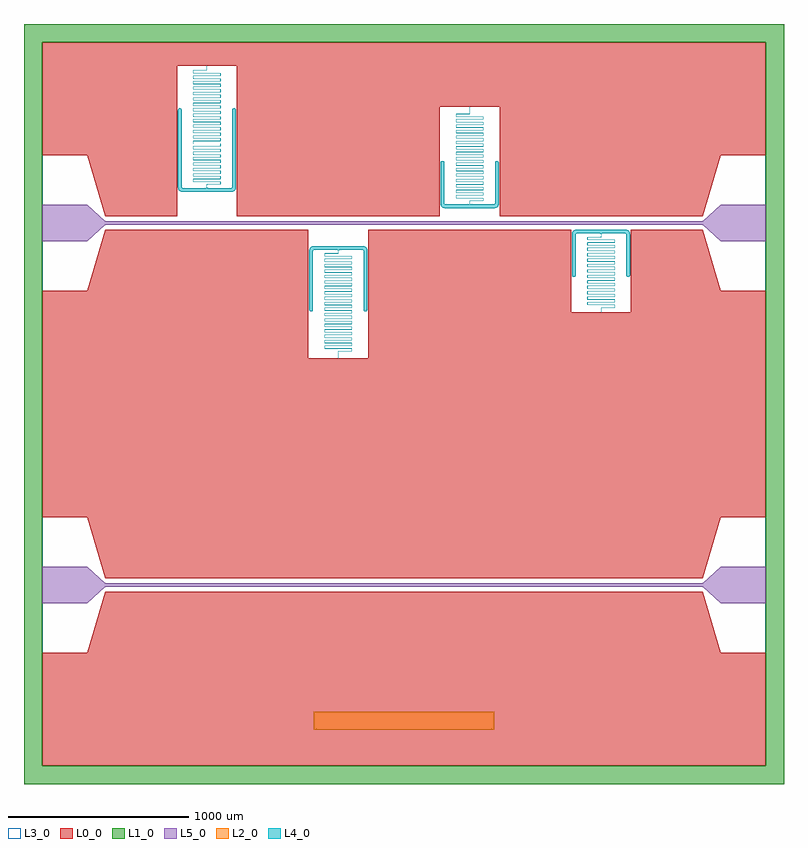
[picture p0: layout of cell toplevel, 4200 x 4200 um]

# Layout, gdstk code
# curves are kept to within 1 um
import gdstk
lib = gdstk.Library(unit=1e-6, precision=1e-09)
def R(c, l, rs):  # rectangles x0, y0, x1, y1
    for r in rs: c.add(gdstk.rectangle(r[:2], r[2:], *l))
def P(c, l, *ps):  # polygons
    for p in ps: c.add(gdstk.Polygon(p, *l))
L0_0 = (0, 0)
L1_0 = (1, 0)
L2_0 = (2, 0)
L3_0 = (3, 0)
L4_0 = (4, 0)
L5_0 = (5, 0)

toplevel = lib.new_cell('toplevel')
P(toplevel, L0_0, [(-924,1868.5),(-924,1037.5),(198,1037.5),(198,1642.833),(528,1642.833),(528,1037.5),(1650,1037.5),(1750,1375),(2000,1375),(2000,2000),(-2000,2000),(-2000,1375),(-1750,1375),(-1650,1037.5),(-1254,1037.5),(-1254,1868.5)],
  [(-1750,-625),(-1650,-962.5),(1650,-962.5),(1750,-625),(2000,-625),(2000,625),(1750,625),(1650,962.5),(1254,962.5),(1254,507.5),(924,507.5),(924,962.5),(-198,962.5),(-198,251.833),(-528,251.833),(-528,962.5),(-1650,962.5),(-1750,625),(-2000,625),(-2000,-625)],
  [(2000,-2000),(2000,-1375),(1750,-1375),(1650,-1037.5),(-1650,-1037.5),(-1750,-1375),(-2000,-1375),(-2000,-2000)])
P(toplevel, L1_0, [(2100,2100),(-2100,2100),(-2100,-2000),(-2000,-2000),(-2000,2000),(2000,2000),(2000,-2000),(-2000,-2000),(-2100,-2000),(-2100,-2100),(2100,-2100)])
R(toplevel, L2_0, [(-500,-1800,500,-1700)])
R(toplevel, L3_0, [(-2000,-2000,2000,2000)])
P(toplevel, L4_0, [(-957.256,1173.5),(-946.018,1174.652),(-937.664,1178.765),(-931.925,1185.852),(-929.25,1195.469),(-929,1438.861),(-949,1438.861),(-949.028,1199.36),(-950.06,1194.461),(-956.931,1193.5),(-1079,1193.5),(-1088.7,1198.5),(-1088.291,1213.175),(-1014.361,1213.305),(-1013.703,1214.388),(-1013.702,1227.589),(-1014.584,1228.762),(-1163.666,1229.171),(-1163.696,1242.609),(-1163.132,1243.195),(-1013.928,1243.636),(-1013.704,1257.63),(-1014.73,1258.785),(-1162.888,1258.8),(-1163.7,1259.606),(-1163.176,1273.191),(-1013.961,1273.593),(-1013.707,1287.684),(-1014.755,1288.787),(-1162.94,1288.8),(-1163.7,1289.591),(-1163.184,1303.19),(-1014.035,1303.513),(-1013.707,1317.684),(-1014.755,1318.787),(-1162.94,1318.8),(-1163.7,1319.591),(-1163.184,1333.19),(-1014.118,1333.442),(-1013.707,1347.684),(-1014.755,1348.787),(-1162.935,1348.8),(-1163.7,1349.591),(-1163.184,1363.19),(-1014.211,1363.379),(-1013.702,1377.56),(-1014.755,1378.787),(-1162.935,1378.8),(-1163.699,1379.48),(-1163.184,1393.19),(-1014.407,1393.287),(-1013.706,1394.346),(-1013.702,1407.56),(-1014.755,1408.787),(-1162.935,1408.8),(-1163.699,1409.476),(-1163.184,1423.19),(-1014.571,1423.241),(-1013.706,1424.34),(-1013.702,1437.56),(-1015.111,1438.8),(-1164.195,1438.861),(-1162.964,1438.2),(-1014.428,1438.03),(-1014.798,1423.812),(-1162.888,1423.8),(-1163.959,1423.492),(-1164.3,1422.404),(-1164.287,1409.249),(-1163.251,1408.213),(-1014.458,1408.061),(-1014.798,1393.812),(-1162.888,1393.8),(-1163.959,1393.492),(-1164.3,1392.404),(-1164.295,1379.352),(-1163.251,1378.213),(-1014.535,1378.115),(-1014.798,1363.812),(-1162.888,1363.8),(-1163.959,1363.492),(-1164.3,1362.404),(-1164.289,1349.274),(-1163.251,1348.213),(-1014.686,1348.17),(-1014.605,1333.854),(-1163.245,1333.787),(-1164.292,1332.684),(-1164.3,1319.59),(-1162.97,1318.2),(-1014.815,1318.19),(-1014.466,1303.932),(-1163.245,1303.787),(-1164.292,1302.684),(-1164.3,1289.59),(-1162.97,1288.2),(-1014.815,1288.19),(-1014.433,1273.964),(-1163.251,1273.787),(-1164.294,1272.666),(-1164.3,1259.595),(-1163.987,1258.535),(-1162.888,1258.2),(-1014.85,1258.193),(-1014.303,1257.595),(-1014.3,1244.612),(-1015.112,1243.8),(-1163.238,1243.788),(-1164.294,1242.653),(-1164.3,1229.611),(-1163.982,1228.53),(-1162.888,1228.2),(-1014.811,1228.19),(-1014.45,1213.946),(-1088.481,1213.746),(-1089.296,1212.612),(-1089.3,1198.5),(-1099,1193.5),(-1221.878,1193.504),(-1227.976,1194.489),(-1228.998,1200.94),(-1229,1438.861),(-1249,1438.861),(-1248.965,1198.83),(-1246.945,1187.792),(-1244.619,1183.373),(-1241.507,1179.761),(-1233.471,1175.103),(-1223.255,1173.524)],
  [(-1163.433,1438.869),(-1163.631,1439.067),(-1163.699,1439.471),(-1163.698,1452.567),(-1163.572,1453.03),(-1163.184,1453.19),(-1015.036,1453.2),(-1014.526,1453.252),(-1014.142,1453.424),(-1013.875,1453.718),(-1013.73,1454.129),(-1013.707,1467.677),(-1013.797,1468.119),(-1014.007,1468.459),(-1014.328,1468.681),(-1014.755,1468.787),(-1162.935,1468.8),(-1163.476,1468.891),(-1163.678,1469.229),(-1163.698,1482.567),(-1163.572,1483.03),(-1163.184,1483.19),(-1015.036,1483.2),(-1014.532,1483.25),(-1014.148,1483.42),(-1013.883,1483.705),(-1013.733,1484.11),(-1013.707,1497.677),(-1013.797,1498.119),(-1014.007,1498.459),(-1014.328,1498.681),(-1014.755,1498.787),(-1162.935,1498.8),(-1163.471,1498.888),(-1163.675,1499.213),(-1163.698,1512.567),(-1163.572,1513.03),(-1163.184,1513.19),(-1015.036,1513.2),(-1014.532,1513.25),(-1014.155,1513.415),(-1013.887,1513.699),(-1013.737,1514.091),(-1013.707,1527.677),(-1013.797,1528.119),(-1014.007,1528.459),(-1014.328,1528.681),(-1014.755,1528.787),(-1162.935,1528.8),(-1163.468,1528.887),(-1163.673,1529.201),(-1163.698,1542.567),(-1163.572,1543.03),(-1163.18,1543.191),(-1015.041,1543.2),(-1014.545,1543.247),(-1014.167,1543.407),(-1013.898,1543.68),(-1013.743,1544.065),(-1013.707,1557.677),(-1013.797,1558.119),(-1014.007,1558.459),(-1014.328,1558.681),(-1014.755,1558.787),(-1162.93,1558.8),(-1163.46,1558.882),(-1163.67,1559.186),(-1163.698,1572.567),(-1163.572,1573.03),(-1163.18,1573.191),(-1015.041,1573.2),(-1014.552,1573.245),(-1014.18,1573.398),(-1013.907,1573.667),(-1013.749,1574.039),(-1013.707,1587.677),(-1013.797,1588.119),(-1014.007,1588.459),(-1014.328,1588.681),(-1014.755,1588.787),(-1162.93,1588.8),(-1163.454,1588.879),(-1163.665,1589.168),(-1163.698,1602.567),(-1163.572,1603.03),(-1163.18,1603.191),(-1015.041,1603.2),(-1014.558,1603.244),(-1014.192,1603.39),(-1013.92,1603.648),(-1013.757,1604.006),(-1013.707,1617.671),(-1013.795,1618.112),(-1014.002,1618.453),(-1014.328,1618.681),(-1014.755,1618.787),(-1162.93,1618.8),(-1163.445,1618.875),(-1163.66,1619.15),(-1163.698,1632.563),(-1163.572,1633.03),(-1163.18,1633.191),(-1015.041,1633.2),(-1014.205,1633.383),(-1013.937,1633.624),(-1013.768,1633.967),(-1013.7,1634.547),(-1013.707,1647.671),(-1013.795,1648.112),(-1014.002,1648.453),(-1014.328,1648.681),(-1014.755,1648.787),(-1162.93,1648.8),(-1163.436,1648.871),(-1163.654,1649.129),(-1163.698,1662.563),(-1163.572,1663.03),(-1163.18,1663.191),(-1015.047,1663.2),(-1014.231,1663.368),(-1013.961,1663.593),(-1013.783,1663.921),(-1013.7,1664.541),(-1013.707,1677.671),(-1013.795,1678.112),(-1014.002,1678.453),(-1014.328,1678.681),(-1014.755,1678.787),(-1162.925,1678.8),(-1163.421,1678.864),(-1163.645,1679.102),(-1163.698,1692.563),(-1163.572,1693.03),(-1163.18,1693.191),(-1015.047,1693.2),(-1014.25,1693.357),(-1013.981,1693.57),(-1013.802,1693.868),(-1013.7,1694.53),(-1013.706,1707.665),(-1013.795,1708.112),(-1014.002,1708.453),(-1014.328,1708.681),(-1014.755,1708.787),(-1162.925,1708.8),(-1163.405,1708.858),(-1163.633,1709.073),(-1163.7,1709.55),(-1163.698,1722.558),(-1163.574,1723.027),(-1163.18,1723.191),(-1015.052,1723.2),(-1014.283,1723.34),(-1013.831,1723.802),(-1013.7,1724.519),(-1013.706,1737.659),(-1013.795,1738.112),(-1014.002,1738.453),(-1014.328,1738.681),(-1014.755,1738.787),(-1162.92,1738.8),(-1163.385,1738.85),(-1163.618,1739.04),(-1163.7,1739.54),(-1163.698,1752.558),(-1163.574,1753.027),(-1163.18,1753.191),(-1015.058,1753.2),(-1014.328,1753.319),(-1013.871,1753.724),(-1013.7,1754.503),(-1013.706,1767.653),(-1013.792,1768.106),(-1014.002,1768.453),(-1014.328,1768.681),(-1014.755,1768.787),(-1162.92,1768.8),(-1163.361,1768.843),(-1163.596,1769.003),(-1163.7,1769.53),(-1163.698,1782.553),(-1163.574,1783.027),(-1163.18,1783.191),(-1015.063,1783.2),(-1014.388,1783.295),(-1013.937,1783.624),(-1013.76,1783.993),(-1013.701,1784.48),(-1013.705,1797.642),(-1013.79,1798.099),(-1013.997,1798.448),(-1014.322,1798.678),(-1014.749,1798.787),(-1162.914,1798.8),(-1163.328,1798.834),(-1163.565,1798.962),(-1163.7,1799.52),(-1163.699,1812.544),(-1163.575,1813.025),(-1163.18,1813.191),(-1015.074,1813.2),(-1014.473,1813.266),(-1014.047,1813.502),(-1013.79,1813.901),(-1013.701,1814.452),(-1013.704,1827.618),(-1013.785,1828.086),(-1013.991,1828.442),(-1014.315,1828.675),(-1014.749,1828.787),(-1162.909,1828.8),(-1163.514,1828.916),(-1163.654,1829.129),(-1163.699,1829.5),(-1163.699,1842.505),(-1163.602,1842.987),(-1163.287,1843.175),(-1090.069,1843.2),(-1089.257,1843.353),(-1088.843,1843.776),(-1088.701,1844.457),(-1088.7,1868.5),(-1089.3,1868.5),(-1089.3,1844.52),(-1089.355,1844.102),(-1089.535,1843.885),(-1090.08,1843.8),(-1163.416,1843.761),(-1163.795,1843.617),(-1164.067,1843.37),(-1164.236,1843.02),(-1164.298,1842.571),(-1164.298,1829.429),(-1164.184,1828.835),(-1163.864,1828.428),(-1163.461,1828.249),(-1162.92,1828.2),(-1014.82,1828.191),(-1014.425,1828.025),(-1014.301,1827.539),(-1014.3,1814.51),(-1014.456,1813.941),(-1015.091,1813.8),(-1163.251,1813.787),(-1163.685,1813.675),(-1164.008,1813.442),(-1164.213,1813.092),(-1164.296,1812.63),(-1164.299,1799.463),(-1164.226,1798.947),(-1164.014,1798.564),(-1163.573,1798.281),(-1162.931,1798.2),(-1014.82,1798.191),(-1014.425,1798.025),(-1014.302,1797.548),(-1014.3,1784.525),(-1014.418,1783.984),(-1014.653,1783.839),(-1015.086,1783.8),(-1163.245,1783.787),(-1163.678,1783.678),(-1164.003,1783.448),(-1164.21,1783.099),(-1164.295,1782.647),(-1164.299,1769.492),(-1164.25,1769.032),(-1164.097,1768.673),(-1163.645,1768.308),(-1162.937,1768.2),(-1014.82,1768.191),(-1014.426,1768.027),(-1014.302,1767.553),(-1014.3,1754.54),(-1014.391,1754.024),(-1014.625,1753.847),(-1015.08,1753.8),(-1163.245,1753.787),(-1163.671,1753.681),(-1163.998,1753.453),(-1164.205,1753.112),(-1164.294,1752.659),(-1164.3,1739.508),(-1164.15,1738.763),(-1163.698,1738.331),(-1162.948,1738.2),(-1014.82,1738.191),(-1014.426,1738.027),(-1014.302,1737.558),(-1014.3,1724.545),(-1014.373,1724.058),(-1014.602,1723.855),(-1015.075,1723.8),(-1163.245,1723.787),(-1163.671,1723.681),(-1163.998,1723.453),(-1164.205,1723.112),(-1164.294,1722.665),(-1164.3,1709.525),(-1164.184,1708.835),(-1163.73,1708.347),(-1162.948,1708.2),(-1014.82,1708.191),(-1014.426,1708.027),(-1014.302,1707.558),(-1014.36,1694.089),(-1014.586,1693.861),(-1015.075,1693.8),(-1163.245,1693.787),(-1163.671,1693.681),(-1163.998,1693.453),(-1164.205,1693.112),(-1164.294,1692.665),(-1164.3,1679.536),(-1164.208,1678.894),(-1164.029,1678.582),(-1163.763,1678.364),(-1162.953,1678.2),(-1014.82,1678.191),(-1014.428,1678.03),(-1014.302,1677.563),(-1014.35,1664.115),(-1014.573,1663.867),(-1015.075,1663.8),(-1163.245,1663.787),(-1163.671,1663.681),(-1163.998,1663.453),(-1164.205,1663.112),(-1164.293,1662.671),(-1164.3,1649.547),(-1164.226,1648.947),(-1164.053,1648.612),(-1163.782,1648.375),(-1162.953,1648.2),(-1014.82,1648.191),(-1014.428,1648.03),(-1014.302,1647.563),(-1014.343,1634.139),(-1014.561,1633.872),(-1015.07,1633.8),(-1163.245,1633.787),(-1163.671,1633.681),(-1163.998,1633.453),(-1164.205,1633.112),(-1164.293,1632.671),(-1164.238,1618.987),(-1164.071,1618.636),(-1163.801,1618.387),(-1163.435,1618.243),(-1162.959,1618.2),(-1014.82,1618.191),(-1014.428,1618.03),(-1014.302,1617.563),(-1014.337,1604.16),(-1014.549,1603.878),(-1015.07,1603.8),(-1163.245,1603.787),(-1163.671,1603.681),(-1163.992,1603.459),(-1164.203,1603.119),(-1164.293,1602.677),(-1164.246,1589.019),(-1164.085,1588.655),(-1163.814,1588.394),(-1163.441,1588.244),(-1162.959,1588.2),(-1014.82,1588.191),(-1014.428,1588.03),(-1014.302,1587.567),(-1014.332,1574.179),(-1014.543,1573.881),(-1015.07,1573.8),(-1163.245,1573.787),(-1163.671,1573.681),(-1163.992,1573.459),(-1164.203,1573.119),(-1164.293,1572.677),(-1164.254,1559.052),(-1164.097,1558.673),(-1163.827,1558.403),(-1163.454,1558.247),(-1162.959,1558.2),(-1014.82,1558.191),(-1014.428,1558.03),(-1014.302,1557.567),(-1014.329,1544.194),(-1014.535,1543.885),(-1015.065,1543.8),(-1163.245,1543.787),(-1163.671,1543.681),(-1163.992,1543.459),(-1164.203,1543.119),(-1164.293,1542.677),(-1164.26,1529.078),(-1164.105,1528.686),(-1163.839,1528.411),(-1163.461,1528.249),(-1162.964,1528.2),(-1014.815,1528.19),(-1014.428,1528.03),(-1014.302,1527.567),(-1014.325,1514.209),(-1014.529,1513.888),(-1015.065,1513.8),(-1163.245,1513.787),(-1163.671,1513.681),(-1163.992,1513.459),(-1164.203,1513.119),(-1164.293,1512.677),(-1164.264,1499.097),(-1164.113,1498.699),(-1163.845,1498.415),(-1163.468,1498.25),(-1162.964,1498.2),(-1014.815,1498.19),(-1014.428,1498.03),(-1014.302,1497.567),(-1014.323,1484.221),(-1014.526,1483.89),(-1015.065,1483.8),(-1163.245,1483.787),(-1163.671,1483.681),(-1163.992,1483.459),(-1164.203,1483.119),(-1164.293,1482.677),(-1164.269,1469.123),(-1164.121,1468.711),(-1163.852,1468.42),(-1163.468,1468.25),(-1162.964,1468.2),(-1014.815,1468.19),(-1014.428,1468.03),(-1014.302,1467.567),(-1014.321,1454.233),(-1014.521,1453.893),(-1015.065,1453.8),(-1163.245,1453.787),(-1163.717,1453.66),(-1164.058,1453.382),(-1164.25,1452.968),(-1164.3,1452.404),(-1164.294,1439.334),(-1164.195,1438.861)],
  [(-1229,1623.5),(-1231.627,1630.256),(-1238.564,1633.49),(-1245.756,1630.873),(-1248.962,1624.372),(-1249,1438.861),(-1229,1438.861)],
  [(-929,1623.5),(-931.627,1630.256),(-938.564,1633.49),(-945.756,1630.873),(-948.962,1624.372),(-949,1438.861),(-929,1438.861)],
  [(-512.564,511.843),(-506.244,514.46),(-503.038,520.962),(-503,651.222),(-523,651.222),(-522.962,520.962),(-519.756,514.46)],
  [(-362.7,290.783),(-362.561,291.375),(-362.044,291.532),(-288.584,291.572),(-288.211,291.712),(-287.937,291.957),(-287.768,292.3),(-287.702,292.745),(-287.705,305.969),(-287.898,306.654),(-288.348,307.023),(-289.074,307.133),(-437.18,307.143),(-437.575,307.308),(-437.699,307.79),(-437.7,320.814),(-437.648,321.222),(-437.494,321.431),(-436.914,321.533),(-288.749,321.547),(-288.322,321.655),(-287.997,321.886),(-287.79,322.234),(-287.705,322.692),(-287.701,335.853),(-287.792,336.439),(-288.082,336.862),(-288.532,337.083),(-289.063,337.133),(-437.18,337.143),(-437.574,337.306),(-437.698,337.78),(-437.7,350.804),(-437.554,351.383),(-437.321,351.501),(-436.92,351.533),(-288.755,351.546),(-288.328,351.652),(-288.002,351.88),(-287.792,352.228),(-287.706,352.68),(-287.7,365.831),(-287.766,366.36),(-287.961,366.74),(-288.401,367.044),(-289.058,367.133),(-437.18,367.143),(-437.574,367.306),(-437.698,367.775),(-437.7,380.794),(-437.599,381.325),(-437.343,381.496),(-436.92,381.533),(-288.755,381.546),(-288.328,381.652),(-288.002,381.88),(-287.795,382.221),(-287.706,382.674),(-287.7,395.814),(-287.871,396.609),(-288.361,397.028),(-289.052,397.133),(-437.18,397.143),(-437.574,397.306),(-437.698,397.775),(-437.7,410.783),(-437.615,411.299),(-437.361,411.491),(-436.925,411.533),(-288.755,411.546),(-288.328,411.652),(-288.002,411.88),(-287.795,412.221),(-287.706,412.668),(-287.7,425.803),(-287.837,426.544),(-288.041,426.826),(-288.328,427.015),(-289.047,427.133),(-437.18,427.143),(-437.572,427.304),(-437.698,427.771),(-437.7,440.778),(-437.626,441.275),(-437.378,441.485),(-436.925,441.533),(-288.755,441.546),(-288.328,441.652),(-288.002,441.88),(-287.795,442.221),(-287.707,442.662),(-287.7,455.792),(-287.819,456.505),(-288.018,456.804),(-288.309,457.006),(-289.047,457.133),(-437.18,457.143),(-437.572,457.304),(-437.698,457.771),(-437.7,470.773),(-437.637,471.251),(-437.436,471.463),(-436.93,471.533),(-288.755,471.546),(-288.328,471.652),(-288.002,471.88),(-287.795,472.221),(-287.707,472.662),(-287.7,485.786),(-287.8,486.459),(-287.966,486.746),(-288.244,486.973),(-289.041,487.133),(-437.18,487.143),(-437.572,487.304),(-437.698,487.771),(-437.645,501.232),(-437.398,501.478),(-436.93,501.533),(-288.755,501.546),(-288.328,501.652),(-288.002,501.88),(-287.795,502.221),(-287.707,502.662),(-287.7,515.775),(-287.772,516.38),(-287.947,516.722),(-288.192,516.943),(-288.558,517.089),(-289.041,517.133),(-437.18,517.143),(-437.572,517.304),(-437.698,517.766),(-437.665,531.165),(-437.454,531.454),(-436.93,531.533),(-288.755,531.546),(-288.328,531.652),(-288.007,531.874),(-287.797,532.214),(-287.707,532.656),(-287.7,545.77),(-287.776,546.393),(-287.937,546.71),(-288.218,546.958),(-289.041,547.133),(-437.18,547.143),(-437.572,547.304),(-437.698,547.766),(-437.67,561.147),(-437.46,561.451),(-436.93,561.533),(-288.755,561.546),(-288.328,561.652),(-288.007,561.874),(-287.797,562.214),(-287.707,562.656),(-287.755,576.32),(-287.928,576.697),(-288.205,576.951),(-289.041,577.133),(-437.18,577.143),(-437.572,577.304),(-437.698,577.766),(-437.673,591.132),(-437.468,591.447),(-436.935,591.533),(-288.755,591.546),(-288.328,591.652),(-288.007,591.874),(-287.797,592.214),(-287.707,592.656),(-287.75,606.301),(-287.915,606.679),(-288.192,606.943),(-288.584,607.095),(-289.036,607.133),(-437.184,607.143),(-437.572,607.304),(-437.698,607.766),(-437.675,621.12),(-437.471,621.445),(-436.935,621.533),(-288.755,621.546),(-288.328,621.652),(-288.007,621.874),(-287.797,622.214),(-287.707,622.656),(-287.745,636.281),(-287.911,636.672),(-288.148,636.914),(-288.532,637.083),(-289.036,637.133),(-437.184,637.143),(-437.572,637.304),(-437.698,637.766),(-437.648,651.222),(-438.267,651.222),(-438.293,637.656),(-438.203,637.214),(-437.992,636.874),(-437.671,636.652),(-437.245,636.546),(-289.065,636.533),(-288.526,636.444),(-288.323,636.112),(-288.302,622.766),(-288.428,622.304),(-288.815,622.143),(-436.964,622.133),(-437.468,622.083),(-437.845,621.918),(-438.113,621.635),(-438.264,621.236),(-438.293,607.656),(-438.203,607.214),(-437.992,606.874),(-437.671,606.652),(-437.245,606.546),(-289.065,606.533),(-288.529,606.445),(-288.325,606.124),(-288.302,592.766),(-288.428,592.304),(-288.815,592.143),(-436.964,592.133),(-437.461,592.085),(-437.839,591.922),(-438.105,591.647),(-438.26,591.255),(-438.293,577.656),(-438.203,577.214),(-437.992,576.874),(-437.671,576.652),(-437.245,576.546),(-289.065,576.533),(-288.535,576.448),(-288.329,576.139),(-288.302,562.766),(-288.428,562.304),(-288.82,562.143),(-436.959,562.133),(-437.454,562.086),(-437.827,561.931),(-438.097,561.66),(-438.241,561.334),(-438.293,547.656),(-438.203,547.214),(-437.992,546.874),(-437.671,546.652),(-437.245,546.546),(-289.07,546.533),(-288.543,546.453),(-288.347,546.208),(-288.302,532.766),(-288.428,532.304),(-288.82,532.143),(-436.959,532.133),(-437.776,531.962),(-438.058,531.716),(-438.232,531.366),(-438.3,530.775),(-438.293,517.656),(-438.203,517.214),(-437.992,516.874),(-437.671,516.652),(-437.245,516.546),(-289.07,516.533),(-288.595,516.476),(-288.353,516.225),(-288.302,502.771),(-288.428,502.304),(-288.82,502.143),(-436.959,502.133),(-437.763,501.969),(-438.044,501.734),(-438.208,501.439),(-438.3,500.781),(-438.293,487.662),(-438.205,487.221),(-437.998,486.88),(-437.671,486.652),(-437.245,486.546),(-289.07,486.533),(-288.561,486.461),(-288.359,486.241),(-288.302,472.771),(-288.428,472.304),(-288.82,472.143),(-436.953,472.133),(-437.743,471.98),(-438.024,471.758),(-438.21,471.432),(-438.3,470.786),(-438.293,457.662),(-438.205,457.221),(-437.998,456.88),(-437.671,456.652),(-437.245,456.546),(-289.075,456.533),(-288.573,456.467),(-288.368,456.263),(-288.3,455.773),(-288.302,442.771),(-288.428,442.304),(-288.82,442.143),(-436.953,442.133),(-437.685,442.009),(-437.97,441.815),(-438.172,441.524),(-438.3,440.797),(-438.294,427.668),(-438.205,427.221),(-437.998,426.88),(-437.671,426.652),(-437.245,426.546),(-289.075,426.533),(-288.586,426.472),(-288.378,426.284),(-288.3,425.778),(-288.302,412.775),(-288.426,412.306),(-288.82,412.143),(-436.948,412.133),(-437.73,411.987),(-438.146,411.577),(-438.3,410.808),(-438.294,397.668),(-438.205,397.221),(-437.998,396.88),(-437.671,396.652),(-437.245,396.546),(-289.075,396.533),(-288.643,396.492),(-288.393,396.312),(-288.3,395.789),(-288.302,382.775),(-288.426,382.306),(-288.82,382.143),(-436.948,382.133),(-437.619,382.036),(-438.062,381.71),(-438.243,381.327),(-438.3,380.825),(-438.294,367.674),(-438.205,367.221),(-437.998,366.88),(-437.671,366.652),(-437.245,366.546),(-289.08,366.533),(-288.668,366.498),(-288.433,366.369),(-288.3,365.794),(-288.302,352.78),(-288.426,352.306),(-288.82,352.143),(-436.937,352.133),(-437.573,352.053),(-437.959,351.826),(-438.222,351.399),(-438.299,350.842),(-438.295,337.686),(-438.21,337.234),(-438.003,336.886),(-437.678,336.655),(-437.245,336.546),(-289.086,336.533),(-288.486,336.418),(-288.344,336.198),(-288.3,335.809),(-288.302,322.785),(-288.425,322.308),(-288.82,322.143),(-436.931,322.133),(-437.435,322.091),(-437.82,321.935),(-438.184,321.498),(-438.299,320.87),(-438.296,307.704),(-438.213,307.241),(-438.008,306.891),(-437.685,306.658),(-437.251,306.547),(-288.589,306.473),(-288.372,306.272),(-288.3,305.824),(-288.301,292.819),(-288.399,292.344),(-288.713,292.158),(-361.942,292.133),(-362.474,292.082),(-362.864,291.905),(-363.195,291.472),(-363.3,290.825),(-363.3,251.833),(-362.7,251.833)],
  [(-212.564,511.843),(-206.244,514.46),(-203.038,520.962),(-203,651.222),(-223,651.222),(-222.962,520.962),(-219.756,514.46)],
  [(-203,843.487),(-204.152,854.815),(-208.477,863.433),(-215.907,869.179),(-225.906,871.669),(-496.447,871.824),(-505.052,870.917),(-512.17,868.067),(-516.621,864.468),(-519.933,859.759),(-522.02,854.149),(-522.928,847.467),(-523,651.222),(-503,651.222),(-502.962,846.25),(-501.918,850.889),(-495.152,851.833),(-373,851.833),(-363.3,846.833),(-363.709,832.159),(-437.639,832.028),(-438.296,830.945),(-438.297,817.745),(-437.307,816.553),(-288.334,816.162),(-288.786,802.146),(-436.888,802.133),(-438.3,800.727),(-438.291,787.632),(-437.276,786.549),(-288.456,786.392),(-288.837,772.141),(-436.888,772.133),(-438.3,770.732),(-438.294,757.68),(-437.245,756.546),(-288.532,756.447),(-288.815,742.143),(-436.888,742.133),(-438.3,740.732),(-438.296,727.71),(-437.269,726.549),(-288.694,726.505),(-288.595,712.191),(-437.269,712.118),(-438.294,710.993),(-438.3,697.929),(-436.888,696.533),(-288.798,696.522),(-288.493,682.244),(-437.245,682.121),(-438.294,680.999),(-438.3,667.929),(-436.888,666.533),(-288.803,666.522),(-288.428,652.304),(-436.964,652.133),(-438.267,651.222),(-289.111,651.533),(-287.7,652.929),(-287.707,666.005),(-288.755,667.121),(-437.572,667.304),(-437.197,681.522),(-289.111,681.533),(-287.7,682.929),(-287.706,695.993),(-288.749,697.12),(-437.542,697.272),(-437.202,711.522),(-288.997,711.534),(-287.7,712.955),(-287.708,726.023),(-288.762,727.121),(-437.489,727.232),(-437.18,741.524),(-289.058,741.533),(-287.7,742.83),(-287.705,755.981),(-288.755,757.121),(-437.267,757.154),(-437.421,771.469),(-288.78,771.544),(-287.707,772.656),(-287.7,785.727),(-289.111,787.133),(-437.15,787.14),(-437.509,801.421),(-288.762,801.545),(-287.706,802.68),(-287.7,815.722),(-289.111,817.133),(-437.189,817.143),(-437.55,831.387),(-363.519,831.587),(-362.704,832.721),(-362.7,846.833),(-353,851.833),(-230.36,851.831),(-224.108,850.907),(-223.001,844.232),(-223,651.222),(-203,651.222)],
  [(494.744,1082.833),(505.449,1083.846),(513.803,1087.692),(519.634,1094.353),(522.568,1103.343),(523,1273.55),(503,1273.55),(502.944,1108.017),(501.862,1103.74),(494.901,1102.833),(373,1102.833),(363.3,1107.833),(363.709,1122.508),(437.639,1122.638),(438.296,1123.721),(438.3,1136.727),(437.416,1138.095),(288.35,1138.448),(288.786,1152.52),(436.888,1152.533),(438.3,1153.939),(438.291,1167.035),(437.276,1168.117),(288.491,1168.246),(288.837,1182.526),(436.888,1182.533),(438.3,1183.934),(438.294,1196.987),(437.245,1198.121),(288.579,1198.197),(288.717,1212.509),(437.245,1212.546),(438.294,1213.68),(438.3,1226.831),(436.942,1228.133),(288.82,1228.143),(288.532,1242.447),(437.245,1242.546),(438.294,1243.674),(438.3,1256.814),(436.948,1258.133),(288.82,1258.143),(288.45,1272.387),(436.888,1272.533),(438.283,1273.55),(289.052,1273.133),(287.7,1271.808),(287.706,1258.668),(288.755,1257.546),(437.542,1257.394),(437.18,1243.143),(289.052,1243.133),(287.7,1241.82),(287.706,1228.674),(288.755,1227.546),(437.521,1227.412),(437.18,1213.143),(289.058,1213.133),(287.7,1211.836),(287.705,1198.686),(288.755,1197.546),(437.46,1197.451),(437.18,1183.143),(289.069,1183.133),(287.701,1181.864),(287.705,1168.698),(288.749,1167.547),(437.239,1167.517),(437.421,1153.197),(288.762,1153.121),(287.706,1151.987),(287.7,1138.945),(289.111,1137.533),(437.189,1137.523),(437.519,1123.253),(363.519,1123.08),(362.704,1121.945),(362.7,1107.833),(353,1102.833),(230.201,1102.837),(224.211,1103.695),(223.004,1109.956),(223,1273.55),(203,1273.55),(203.095,1106.759),(203.98,1100.517),(205.996,1095.046),(209.145,1090.454),(213.281,1086.943),(220.551,1083.846),(229.454,1082.844)],
  [(438.294,1273.668),(438.294,1286.999),(438.2,1287.459),(437.987,1287.798),(437.671,1288.015),(437.202,1288.124),(289.112,1288.133),(288.535,1288.218),(288.324,1288.55),(288.303,1301.924),(288.439,1302.376),(288.837,1302.526),(436.888,1302.533),(437.422,1302.573),(437.808,1302.724),(438.089,1302.994),(438.263,1303.424),(438.295,1316.981),(438.203,1317.452),(437.987,1317.798),(437.691,1318.006),(437.208,1318.124),(289.112,1318.133),(288.535,1318.218),(288.324,1318.55),(288.302,1331.91),(288.43,1332.365),(288.833,1332.525),(436.888,1332.533),(437.422,1332.573),(437.808,1332.724),(438.089,1332.994),(438.263,1333.424),(438.291,1347.035),(438.203,1347.452),(437.976,1347.809),(437.625,1348.034),(437.22,1348.123),(289.112,1348.133),(288.538,1348.217),(288.325,1348.543),(288.301,1361.853),(288.414,1362.345),(288.807,1362.523),(436.959,1362.533),(437.441,1362.577),(437.808,1362.724),(438.08,1362.982),(438.243,1363.34),(438.293,1377.005),(438.205,1377.446),(437.998,1377.787),(437.671,1378.015),(437.245,1378.121),(289.07,1378.133),(288.549,1378.211),(288.337,1378.494),(288.302,1391.896),(288.428,1392.363),(288.82,1392.524),(436.959,1392.533),(437.435,1392.576),(437.801,1392.72),(438.071,1392.969),(438.238,1393.32),(438.293,1407.005),(438.205,1407.446),(437.998,1407.787),(437.671,1408.015),(437.245,1408.121),(289.07,1408.133),(288.561,1408.205),(288.343,1408.472),(288.302,1421.896),(288.428,1422.363),(288.82,1422.524),(436.953,1422.533),(437.782,1422.708),(438.053,1422.945),(438.226,1423.28),(438.3,1423.88),(438.293,1437.005),(438.205,1437.446),(437.998,1437.787),(437.671,1438.015),(437.245,1438.121),(289.075,1438.133),(288.573,1438.2),(288.35,1438.448),(288.302,1451.896),(288.428,1452.363),(288.82,1452.524),(436.953,1452.533),(437.763,1452.697),(438.029,1452.915),(438.208,1453.228),(438.3,1453.869),(438.294,1466.999),(438.205,1467.446),(437.998,1467.787),(437.671,1468.015),(437.245,1468.121),(289.075,1468.133),(288.586,1468.195),(288.36,1468.422),(288.302,1481.891),(288.426,1482.361),(288.82,1482.524),(436.948,1482.533),(437.73,1482.68),(438.184,1483.168),(438.3,1483.858),(438.294,1496.999),(438.205,1497.446),(437.998,1497.787),(437.671,1498.015),(437.245,1498.121),(289.075,1498.133),(288.602,1498.188),(288.373,1498.391),(288.3,1498.878),(288.302,1511.891),(288.426,1512.361),(288.82,1512.524),(436.948,1512.533),(437.698,1512.664),(438.15,1513.096),(438.3,1513.842),(438.294,1526.993),(438.205,1527.446),(437.998,1527.787),(437.671,1528.015),(437.245,1528.121),(289.08,1528.133),(288.625,1528.18),(288.391,1528.357),(288.3,1528.873),(288.302,1541.886),(288.426,1542.361),(288.82,1542.524),(436.937,1542.533),(437.645,1542.641),(438.097,1543.007),(438.25,1543.366),(438.299,1543.825),(438.295,1556.981),(438.21,1557.432),(438.003,1557.781),(437.678,1558.012),(437.245,1558.121),(289.086,1558.133),(288.653,1558.172),(288.418,1558.317),(288.3,1558.858),(288.302,1571.882),(288.425,1572.359),(288.82,1572.524),(436.931,1572.533),(437.573,1572.614),(438.014,1572.897),(438.226,1573.28),(438.299,1573.796),(438.296,1586.963),(438.213,1587.426),(438.008,1587.775),(437.685,1588.009),(437.251,1588.12),(289.091,1588.133),(288.456,1588.274),(288.3,1588.843),(288.301,1601.848),(288.399,1602.323),(288.713,1602.509),(361.942,1602.533),(362.474,1602.585),(362.864,1602.762),(363.195,1603.195),(363.3,1603.842),(363.3,1642.833),(362.7,1642.833),(362.7,1603.883),(362.658,1603.476),(362.514,1603.249),(361.925,1603.133),(288.584,1603.095),(288.211,1602.954),(287.937,1602.71),(287.768,1602.366),(287.702,1601.922),(287.702,1588.779),(287.792,1588.228),(288.047,1587.835),(288.473,1587.599),(289.074,1587.533),(437.18,1587.524),(437.575,1587.359),(437.699,1586.877),(437.7,1573.853),(437.565,1573.295),(437.328,1573.167),(436.914,1573.133),(288.749,1573.12),(288.322,1573.012),(287.997,1572.781),(287.79,1572.432),(287.705,1571.975),(287.701,1558.813),(287.76,1558.326),(287.937,1557.957),(288.388,1557.628),(289.063,1557.533),(437.18,1557.524),(437.574,1557.361),(437.698,1556.886),(437.7,1543.863),(437.596,1543.336),(437.361,1543.176),(436.92,1543.133),(288.755,1543.121),(288.328,1543.015),(288.002,1542.787),(287.792,1542.439),(287.706,1541.987),(287.7,1528.836),(287.871,1528.058),(288.328,1527.652),(289.058,1527.533),(437.18,1527.524),(437.574,1527.361),(437.698,1526.891),(437.7,1513.873),(437.618,1513.374),(437.385,1513.184),(436.92,1513.133),(288.755,1513.121),(288.328,1513.015),(288.002,1512.787),(287.795,1512.446),(287.706,1511.993),(287.7,1498.853),(287.831,1498.136),(288.283,1497.674),(289.052,1497.533),(437.18,1497.524),(437.574,1497.361),(437.698,1496.891),(437.7,1483.883),(437.633,1483.406),(437.405,1483.191),(436.925,1483.133),(288.755,1483.121),(288.328,1483.015),(288.002,1482.787),(287.795,1482.446),(287.706,1481.999),(287.7,1468.864),(287.802,1468.201),(287.981,1467.903),(288.25,1467.69),(289.047,1467.533),(437.18,1467.524),(437.572,1467.363),(437.698,1466.896),(437.645,1453.435),(437.421,1453.197),(436.925,1453.133),(288.755,1453.121),(288.328,1453.015),(288.002,1452.787),(287.795,1452.446),(287.707,1452.005),(287.7,1438.875),(287.783,1438.254),(287.961,1437.927),(288.231,1437.701),(289.047,1437.533),(437.18,1437.524),(437.572,1437.363),(437.698,1436.896),(437.654,1423.462),(437.436,1423.204),(436.93,1423.133),(288.755,1423.121),(288.328,1423.015),(288.002,1422.787),(287.795,1422.446),(287.707,1422.005),(287.7,1408.88),(287.768,1408.3),(287.937,1407.957),(288.205,1407.716),(289.041,1407.533),(437.18,1407.524),(437.572,1407.363),(437.698,1406.896),(437.66,1393.483),(437.445,1393.208),(436.93,1393.133),(288.755,1393.121),(288.328,1393.015),(288.002,1392.787),(287.795,1392.446),(287.707,1392.005),(287.757,1378.34),(287.92,1377.982),(288.192,1377.724),(288.558,1377.577),(289.041,1377.533),(437.18,1377.524),(437.572,1377.363),(437.698,1376.896),(437.663,1363.494),(437.451,1363.211),(436.93,1363.133),(288.755,1363.121),(288.355,1363.026),(287.997,1362.781),(287.802,1362.465),(287.706,1361.999),(287.753,1348.353),(287.924,1347.976),(288.199,1347.72),(288.584,1347.572),(289.111,1347.533),(437.171,1347.525),(437.575,1347.359),(437.698,1346.905),(437.676,1333.55),(437.465,1333.218),(436.888,1333.133),(288.786,1333.123),(288.381,1333.036),(288.029,1332.815),(287.805,1332.472),(287.71,1332.047),(287.737,1318.424),(287.911,1317.994),(288.192,1317.724),(288.578,1317.573),(289.111,1317.533),(437.167,1317.525),(437.565,1317.371),(437.697,1316.919),(437.676,1303.55),(437.465,1303.218),(436.888,1303.133),(288.792,1303.124),(288.315,1303.009),(288.024,1302.809),(287.822,1302.511),(287.712,1302.072),(287.736,1288.431),(287.911,1287.994),(288.192,1287.724),(288.578,1287.573),(289.111,1287.533),(437.158,1287.526),(437.555,1287.381),(437.697,1286.929),(437.676,1273.55),(438.283,1273.55)],
  [(223,1332.833),(220.373,1339.589),(214.305,1342.748),(207.627,1341.267),(203.463,1335.84),(203,1273.55),(223,1273.55)],
  [(523,1332.833),(520.373,1339.589),(514.305,1342.748),(507.627,1341.267),(503.463,1335.84),(503,1273.55),(523,1273.55)],
  [(939.436,702.509),(945.756,705.127),(948.962,711.628),(949,817.068),(929,817.068),(929.038,711.628),(932.244,705.127)],
  [(1089.3,531.48),(1089.45,532.054),(1089.976,532.199),(1163.416,532.238),(1163.795,532.383),(1164.067,532.63),(1164.236,532.98),(1164.298,533.429),(1164.294,546.659),(1164.085,547.345),(1163.625,547.7),(1162.92,547.8),(1014.82,547.809),(1014.425,547.975),(1014.301,548.461),(1014.3,561.49),(1014.359,561.908),(1014.503,562.096),(1015.091,562.2),(1163.251,562.213),(1163.685,562.325),(1164.008,562.558),(1164.213,562.908),(1164.296,563.37),(1164.299,576.537),(1164.205,577.112),(1163.924,577.524),(1163.507,577.74),(1162.931,577.8),(1014.82,577.809),(1014.425,577.975),(1014.302,578.452),(1014.3,591.475),(1014.437,592.04),(1014.653,592.161),(1015.086,592.2),(1163.245,592.213),(1163.678,592.322),(1164.003,592.552),(1164.21,592.901),(1164.295,593.352),(1164.299,606.508),(1164.236,607.02),(1164.053,607.388),(1163.573,607.719),(1162.937,607.8),(1014.82,607.809),(1014.426,607.972),(1014.302,608.447),(1014.3,621.46),(1014.411,622.007),(1014.625,622.153),(1015.08,622.2),(1163.245,622.213),(1163.671,622.319),(1163.998,622.547),(1164.205,622.888),(1164.294,623.34),(1164.3,636.492),(1164.11,637.308),(1163.619,637.703),(1162.948,637.8),(1014.82,637.809),(1014.426,637.972),(1014.302,638.442),(1014.3,651.455),(1014.393,651.979),(1014.602,652.145),(1015.075,652.2),(1163.245,652.213),(1163.671,652.319),(1163.998,652.547),(1164.205,652.888),(1164.294,653.334),(1164.3,666.475),(1164.146,667.243),(1163.652,667.69),(1162.948,667.8),(1014.82,667.809),(1014.426,667.972),(1014.302,668.442),(1014.3,681.445),(1014.378,681.951),(1014.586,682.139),(1015.075,682.2),(1163.245,682.213),(1163.671,682.319),(1163.998,682.547),(1164.205,682.888),(1164.294,683.334),(1164.3,696.464),(1164.208,697.106),(1164.029,697.418),(1163.763,697.636),(1162.953,697.8),(1014.82,697.809),(1014.428,697.97),(1014.302,698.437),(1014.35,711.885),(1014.573,712.133),(1015.075,712.2),(1163.245,712.213),(1163.671,712.319),(1163.998,712.547),(1164.205,712.888),(1164.293,713.328),(1164.3,726.453),(1164.21,727.099),(1164.024,727.424),(1163.782,727.625),(1162.953,727.8),(1014.82,727.809),(1014.428,727.97),(1014.302,728.437),(1014.343,741.861),(1014.561,742.128),(1015.07,742.2),(1163.245,742.213),(1163.671,742.319),(1163.998,742.547),(1164.205,742.888),(1164.293,743.328),(1164.238,757.013),(1164.071,757.364),(1163.801,757.613),(1163.435,757.757),(1162.959,757.8),(1014.82,757.809),(1014.428,757.97),(1014.302,758.437),(1014.337,771.84),(1014.549,772.122),(1015.07,772.2),(1163.245,772.213),(1163.671,772.319),(1163.992,772.541),(1164.203,772.881),(1164.293,773.322),(1164.3,786.442),(1164.232,787.033),(1164.058,787.382),(1163.776,787.629),(1162.959,787.8),(1014.82,787.809),(1014.428,787.97),(1014.302,788.433),(1014.332,801.821),(1014.543,802.119),(1015.07,802.2),(1163.245,802.213),(1163.671,802.319),(1163.992,802.541),(1164.203,802.881),(1164.293,803.322),(1164.3,816.437),(1164.221,817.068),(1163.534,817.068),(1163.67,816.814),(1163.7,816.425),(1163.698,803.433),(1163.572,802.97),(1163.18,802.809),(1015.041,802.8),(1014.552,802.754),(1014.18,802.601),(1013.907,802.333),(1013.749,801.961),(1013.707,788.322),(1013.797,787.881),(1014.007,787.541),(1014.328,787.319),(1014.755,787.213),(1162.93,787.2),(1163.454,787.121),(1163.665,786.832),(1163.698,773.433),(1163.572,772.97),(1163.18,772.809),(1015.041,772.8),(1014.558,772.756),(1014.192,772.609),(1013.92,772.352),(1013.772,772.046),(1013.7,771.442),(1013.707,758.328),(1013.795,757.888),(1014.002,757.547),(1014.328,757.319),(1014.755,757.213),(1162.93,757.2),(1163.398,757.145),(1163.645,756.898),(1163.698,743.437),(1163.572,742.97),(1163.18,742.809),(1015.041,742.8),(1014.205,742.617),(1013.937,742.376),(1013.768,742.033),(1013.7,741.453),(1013.707,728.328),(1013.795,727.888),(1014.002,727.547),(1014.328,727.319),(1014.755,727.213),(1162.93,727.2),(1163.436,727.129),(1163.654,726.871),(1163.698,713.437),(1163.572,712.97),(1163.18,712.809),(1015.047,712.8),(1014.231,712.632),(1013.8,712.125),(1013.7,711.459),(1013.707,698.328),(1013.795,697.888),(1014.002,697.547),(1014.328,697.319),(1014.755,697.213),(1162.925,697.2),(1163.421,697.136),(1163.645,696.898),(1163.698,683.437),(1163.572,682.97),(1163.18,682.809),(1015.047,682.8),(1014.328,682.681),(1014.041,682.492),(1013.837,682.211),(1013.7,681.47),(1013.706,668.334),(1013.795,667.888),(1014.002,667.547),(1014.328,667.319),(1014.755,667.213),(1162.925,667.2),(1163.361,667.157),(1163.615,666.965),(1163.7,666.45),(1163.698,653.442),(1163.574,652.972),(1163.18,652.809),(1015.052,652.8),(1014.361,652.695),(1013.871,652.276),(1013.7,651.481),(1013.706,638.34),(1013.795,637.888),(1014.002,637.547),(1014.328,637.319),(1014.755,637.213),(1162.92,637.2),(1163.343,637.162),(1163.599,636.992),(1163.7,636.46),(1163.698,623.442),(1163.574,622.972),(1163.18,622.809),(1015.058,622.8),(1014.328,622.681),(1013.915,622.345),(1013.766,622.027),(1013.7,621.497),(1013.706,608.346),(1013.792,607.894),(1014.002,607.547),(1014.328,607.319),(1014.755,607.213),(1162.92,607.2),(1163.321,607.168),(1163.575,607.025),(1163.7,606.47),(1163.698,593.447),(1163.574,592.972),(1163.18,592.809),(1015.063,592.8),(1014.46,592.73),(1014.029,592.482),(1013.792,592.106),(1013.701,591.52),(1013.705,578.358),(1013.79,577.901),(1013.997,577.552),(1014.322,577.322),(1014.749,577.213),(1162.914,577.2),(1163.521,577.079),(1163.648,576.888),(1163.7,576.48),(1163.699,563.456),(1163.575,562.975),(1163.18,562.809),(1015.074,562.8),(1014.532,562.75),(1014.186,562.606),(1013.84,562.217),(1013.701,561.548),(1013.704,548.382),(1013.785,547.914),(1013.991,547.558),(1014.315,547.325),(1014.749,547.213),(1163.411,547.14),(1163.628,546.939),(1163.699,546.5),(1163.699,533.495),(1163.602,533.013),(1163.287,532.825),(1090.069,532.8),(1089.257,532.646),(1088.843,532.224),(1088.701,531.542),(1088.7,507.5),(1089.3,507.5)],
  [(1239.436,702.509),(1245.756,705.127),(1248.962,711.628),(1249,817.068),(1229,817.068),(1229.038,711.628),(1232.244,705.127)],
  [(1249,934.154),(1247.848,945.482),(1243.63,953.968),(1236.371,959.712),(1226.558,962.296),(956.234,962.497),(943.981,960.706),(938.197,957.641),(933.76,953.168),(930.794,947.519),(929.25,940.531),(929,817.068),(949,817.068),(949.071,937.573),(950.173,941.615),(957.015,942.5),(1079,942.5),(1088.7,937.5),(1088.291,922.825),(1014.361,922.695),(1013.702,908.411),(1014.584,907.238),(1163.629,906.936),(1163.189,892.81),(1014.237,892.636),(1013.702,878.435),(1014.761,877.212),(1163.699,876.539),(1163.184,862.81),(1014.375,862.7),(1013.702,848.44),(1014.755,847.213),(1162.935,847.2),(1163.7,846.425),(1163.18,832.809),(1014.597,832.764),(1013.702,831.589),(1013.702,818.44),(1015.111,817.2),(1164.221,817.068),(1162.959,817.8),(1014.535,817.885),(1014.811,832.19),(1162.888,832.2),(1164.3,833.595),(1164.291,846.702),(1163.238,847.788),(1014.686,847.83),(1014.576,862.135),(1163.245,862.213),(1164.293,863.322),(1164.3,876.426),(1162.964,877.8),(1014.82,877.809),(1014.3,891.378),(1015.035,892.2),(1163.202,892.209),(1164.292,893.316),(1164.3,906.378),(1162.888,907.8),(1014.811,907.81),(1014.518,922.106),(1088.481,922.253),(1089.296,923.388),(1089.3,937.5),(1099,942.5),(1221.56,942.498),(1227.488,941.79),(1228.604,940.019),(1228.995,935.456),(1229,817.068),(1249,817.068)])
P(toplevel, L5_0, [(-1650,1010),(-1750,1100),(-2000,1100),(-2000,900),(-1750,900),(-1650,990),(1650,990),(1750,900),(2000,900),(2000,1100),(1750,1100),(1650,1010)],
  [(-1650,-990),(-1750,-900),(-2000,-900),(-2000,-1100),(-1750,-1100),(-1650,-1010),(1650,-1010),(1750,-1100),(2000,-1100),(2000,-900),(1750,-900),(1650,-990)])

lib.write_gds('toplevel.gds')
